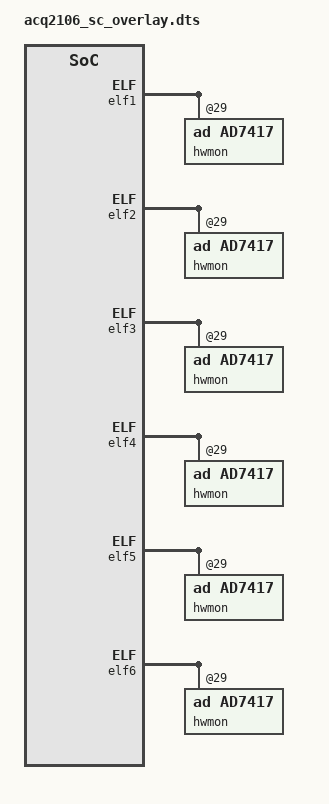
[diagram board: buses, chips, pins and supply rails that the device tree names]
/dts-v1/;
/plugin/;	/* allow undefined label references and record them */
/ {
	fragment@0 {
		target = <&elf1>;
		__overlay__ {
			#address-cells = <1>;
			#size-cells = <0>;			
			hwmon@29 {
				compatible="ad,ad7417";
				reg=<0x29>;
			};
		};
	};
	fragment@1 {
		target = <&elf2>;
		__overlay__ {
			#address-cells = <1>;
			#size-cells = <0>;			
			hwmon@29 {
				compatible="ad,ad7417";
				reg=<0x29>;
			};
		};
	};
	fragment@2 {
		target = <&elf3>;
		__overlay__ {
			#address-cells = <1>;
			#size-cells = <0>;			
			hwmon@29 {
				compatible="ad,ad7417";
				reg=<0x29>;
			};
		};
	};
	fragment@3 {
		target = <&elf4>;
		__overlay__ {
			#address-cells = <1>;
			#size-cells = <0>;			
			hwmon@29 {
				compatible="ad,ad7417";
				reg=<0x29>;
			};
		};
	};
	fragment@4 {
		target = <&elf5>;
		__overlay__ {
			#address-cells = <1>;
			#size-cells = <0>;			
			hwmon@29 {
				compatible="ad,ad7417";
				reg=<0x29>;
			};
		};
	};
	fragment@5 {
		target = <&elf6>;
		__overlay__ {
			#address-cells = <1>;
			#size-cells = <0>;			
			hwmon@29 {
				compatible="ad,ad7417";
				reg=<0x29>;
			};
		};
	};	
};
